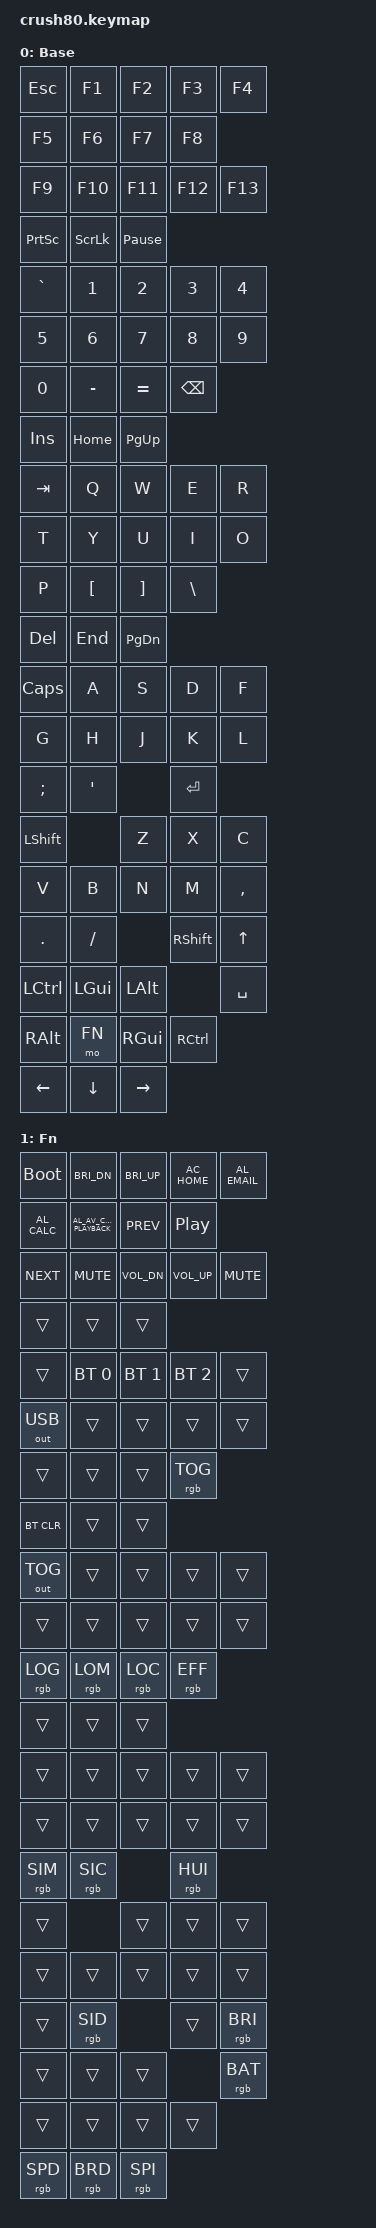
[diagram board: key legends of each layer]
/*
 * Wobkey Crush 80 — Stock QWERTY keymap
 *
 * Layer 0: Standard QWERTY with F1-F12, no home row mods
 * Layer 1: Fn — BT profiles, output toggle, RGB, bootloader
 */

#include <behaviors.dtsi>
#include <rainy_rgb.dtsi>
#include <dt-bindings/rainy_rgb.h>
#include <dt-bindings/zmk/keys.h>
#include <dt-bindings/zmk/bt.h>
#include <dt-bindings/zmk/outputs.h>

#define BASE 0
#define FN   1

/ {
	keymap {
		compatible = "zmk,keymap";

		default_layer {
			display-name = "Base";
			bindings = <
				/* Row 0: F-row (17 keys: Esc, F1-F12, F13, PrtSc, ScrLk, Pause) */
				&kp ESC       &kp F1        &kp F2        &kp F3        &kp F4
				&kp F5        &kp F6        &kp F7        &kp F8
				&kp F9        &kp F10       &kp F11       &kp F12       &kp F13
				&kp PSCRN     &kp SLCK      &kp PAUSE_BREAK
				/* Row 1: number row + nav cluster (17 keys) */
				&kp GRAVE     &kp N1        &kp N2        &kp N3        &kp N4
				&kp N5        &kp N6        &kp N7        &kp N8        &kp N9
				&kp N0        &kp MINUS     &kp EQUAL     &kp BSPC
				&kp INS       &kp HOME      &kp PG_UP
				/* Row 2: QWERTY + nav cluster (17 keys) */
				&kp TAB       &kp Q         &kp W         &kp E         &kp R
				&kp T         &kp Y         &kp U         &kp I         &kp O
				&kp P         &kp LBKT      &kp RBKT      &kp BSLH
				&kp DEL       &kp END       &kp PG_DN
				/* Row 3: home row (13 keys) */
				&kp CAPS      &kp A         &kp S         &kp D         &kp F
				&kp G         &kp H         &kp J         &kp K         &kp L
				&kp SEMI      &kp SQT                     &kp RET
				/* Row 4: shift row (13 keys) */
				&kp LSHFT                   &kp Z         &kp X         &kp C
				&kp V         &kp B         &kp N         &kp M         &kp COMMA
				&kp DOT       &kp FSLH                    &kp RSHFT     &kp UP
				/* Row 5: bottom row (11 keys) */
				&kp LCTRL     &kp LGUI      &kp LALT                    &kp SPACE
				&kp RALT      &mo FN        &kp RGUI      &kp RCTRL
				&kp LEFT      &kp DOWN      &kp RIGHT
			>;
		};

		fn_layer {
			display-name = "Fn";
			bindings = <
				/* Row 0: bootloader + F1-F12 shortcuts + Mute (17 keys) */
				&bootloader   &kp C_BRI_DN  &kp C_BRI_UP  &kp C_AC_HOME &kp C_AL_EMAIL
				&kp C_AL_CALC &kp C_AL_AV_CAPTURE_PLAYBACK &kp C_PREV   &kp C_PP
				&kp C_NEXT    &kp C_MUTE    &kp C_VOL_DN  &kp C_VOL_UP  &kp C_MUTE
				&trans        &trans        &trans
				/* Row 1: BT/output + RGB_TOG on Bspc + BT_CLR on Ins (17 keys) */
				&trans        &bt BT_SEL 0  &bt BT_SEL 1  &bt BT_SEL 2  &trans
				&out OUT_USB  &trans        &trans        &trans        &trans
				&trans        &trans        &trans        &rgb RGB_TOG
				&bt BT_CLR    &trans        &trans
				/* Row 2: QWERTY + nav cluster (17 keys) — Tab=OUT_TOG, P=RGB_LOG, LBKT=RGB_LOM, RBKT=RGB_LOC, BSLH=RGB_EFF */
				&out OUT_TOG  &trans        &trans        &trans        &trans
				&trans        &trans        &trans        &trans        &trans
				&rgb RGB_LOG  &rgb RGB_LOM  &rgb RGB_LOC  &rgb RGB_EFF
				&trans        &trans        &trans
				/* Row 3: home row (13 keys) — SEMI=RGB_SIM, SQT=RGB_SIC, RET=RGB_HUI */
				&trans        &trans        &trans        &trans        &trans
				&trans        &trans        &trans        &trans        &trans
				&rgb RGB_SIM  &rgb RGB_SIC                &rgb RGB_HUI
				/* Row 4: shift row (13 keys) — FSLH=RGB_SID, UP=RGB_BRI */
				&trans                      &trans        &trans        &trans
				&trans        &trans        &trans        &trans        &trans
				&trans        &rgb RGB_SID                &trans        &rgb RGB_BRI
				/* Row 5: bottom row (11 keys) — SPACE=RGB_BAT, LEFT=SPD, DOWN=BRD, RIGHT=SPI */
				&trans        &trans        &trans                      &rgb RGB_BAT
				&trans        &trans        &trans        &trans
				&rgb RGB_SPD  &rgb RGB_BRD  &rgb RGB_SPI
			>;
		};
	};
};
